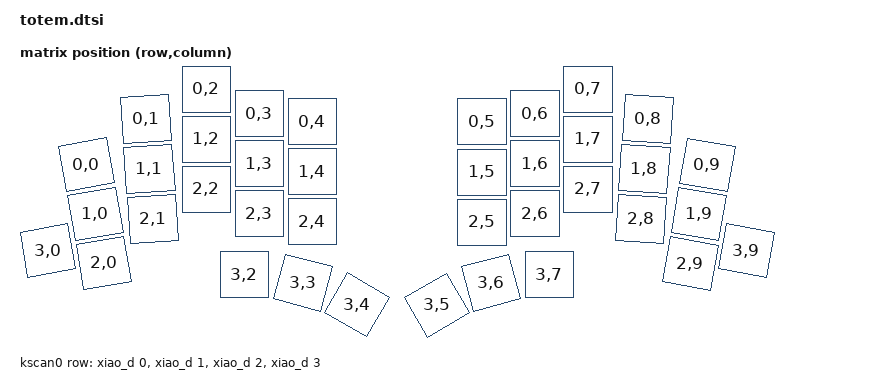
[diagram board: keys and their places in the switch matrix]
/*
* Copyright (c) 2022 The ZMK Contributors
*
* SPDX-License-Identifier: MIT
*/

#include <dt-bindings/zmk/matrix_transform.h>
#include <physical_layouts.dtsi>

/ {
    chosen {
        zmk,kscan = &kscan0;
        zmk,physical-layout = &default_layout;
    };

    default_transform: keymap_transform_0 {
        compatible = "zmk,matrix-transform";
        columns = <10>;
        rows = <4>;
//             | SW01  | SW02  | SW03  | SW04  | SW05  |  | SW05  | SW04  | SW03  | SW02  | SW01  |
//             | SW06  | SW07  | SW08  | SW09  | SW10  |  | SW10  | SW09  | SW08  | SW07  | SW06  | 
//      | SW16 | SW11  | SW12  | SW13  | SW14  | SW15  |  | SW15  | SW14  | SW13  | SW12  | SW11  | SW16  |
//                             | SW17  | SW18  | SW19  |  | SW19  | SW18  | SW17  | 
        map = <
                RC(0,0) RC(0,1) RC(0,2) RC(0,3) RC(0,4)    RC(0,5) RC(0,6) RC(0,7) RC(0,8) RC(0,9)
                RC(1,0) RC(1,1) RC(1,2) RC(1,3) RC(1,4)    RC(1,5) RC(1,6) RC(1,7) RC(1,8) RC(1,9)
        RC(3,0) RC(2,0) RC(2,1) RC(2,2) RC(2,3) RC(2,4)    RC(2,5) RC(2,6) RC(2,7) RC(2,8) RC(2,9) RC(3,9)
                                RC(3,2) RC(3,3) RC(3,4)    RC(3,5) RC(3,6) RC(3,7)         
        >;
    };
 
    default_layout: default_layout {
        compatible = "zmk,physical-layout";
        display-name = "TOTEM";
        transform = <&default_transform>;
        kscan = <&kscan0>;

        keys  //                     w   h    x    y     rot   rx   ry
            = <&key_physical_attrs 105 100   77  151 (-1000)  130  201>
            , <&key_physical_attrs 105 100  196   60  (-400)  249  110>
            , <&key_physical_attrs 105 100  317    0       0    0    0>
            , <&key_physical_attrs 105 100  423   49       0    0    0>
            , <&key_physical_attrs 105 100  529   65       0    0    0>
            , <&key_physical_attrs 105 100  868   65       0    0    0>
            , <&key_physical_attrs 105 100  974   49       0    0    0>
            , <&key_physical_attrs 105 100 1080    0       0    0    0>
            , <&key_physical_attrs 105 100 1200   60     400 1253  110>
            , <&key_physical_attrs 105 100 1319  152    1000 1372  202>
            , <&key_physical_attrs 105 100   95  250 (-1000)  147  300>
            , <&key_physical_attrs 105 100  203  160  (-400)  256  210>
            , <&key_physical_attrs 105 100  317  100       0    0    0>
            , <&key_physical_attrs 105 100  423  149       0    0    0>
            , <&key_physical_attrs 105 100  529  165       0    0    0>
            , <&key_physical_attrs 105 100  868  166       0    0    0>
            , <&key_physical_attrs 105 100  974  149       0    0    0>
            , <&key_physical_attrs 105 100 1080  100       0    0    0>
            , <&key_physical_attrs 105 100 1193  160     400 1246  210>
            , <&key_physical_attrs 105 100 1302  250    1000 1355  300>
            , <&key_physical_attrs 105 100    0  323 (-1000)   52  373>
            , <&key_physical_attrs 105 100  112  348 (-1000)  165  398>
            , <&key_physical_attrs 105 100  210  260  (-400)  263  310>
            , <&key_physical_attrs 105 100  317  200       0    0    0>
            , <&key_physical_attrs 105 100  423  249       0    0    0>
            , <&key_physical_attrs 105 100  529  265       0    0    0>
            , <&key_physical_attrs 105 100  868  266       0    0    0>
            , <&key_physical_attrs 105 100  974  249       0    0    0>
            , <&key_physical_attrs 105 100 1080  200       0    0    0>
            , <&key_physical_attrs 105 100 1186  260     400 1239  310>
            , <&key_physical_attrs 105 100 1285  349    1000 1338  399>
            , <&key_physical_attrs 105 100 1397  323    1000 1450  373>
            , <&key_physical_attrs 105 100  393  371       0    0    0>
            , <&key_physical_attrs 105 100  511  387    1500  563  437>
            , <&key_physical_attrs 105 100  619  432    3000  672  482>
            , <&key_physical_attrs 105 100  778  432 (-3000)  831  482>
            , <&key_physical_attrs 105 100  886  387 (-1500)  939  437>
            , <&key_physical_attrs 105 100 1003  371       0    0    0>
            ;
    };
 
    kscan0: kscan_0 {
        compatible = "zmk,kscan-gpio-matrix";
        label = "KSCAN";

        diode-direction = "col2row";
        wakeup-source;
        row-gpios
            = <&xiao_d 0 (GPIO_ACTIVE_HIGH | GPIO_PULL_DOWN)>
            , <&xiao_d 1 (GPIO_ACTIVE_HIGH | GPIO_PULL_DOWN)>
            , <&xiao_d 2 (GPIO_ACTIVE_HIGH | GPIO_PULL_DOWN)>
            , <&xiao_d 3 (GPIO_ACTIVE_HIGH | GPIO_PULL_DOWN)>
            ;
    };

    /* Lets a keypress on the matrix wake this half from soft-off (see the
     * sleep combo in totem.keymap). Left/right only in practice - the
     * dongle never enables CONFIG_ZMK_PM_SOFT_OFF, so this is inert there. */
    soft_off_wakers {
        compatible = "zmk,soft-off-wakeup-sources";
        wakeup-sources = <&kscan0>;
    };

    /*
     * Declared here (shared by all three shields) purely so the
     * &totem_sleep label in the shared keymap resolves on every build - same
     * reasoning as &battery_check above. Only actually does anything on
     * left/right: see CONFIG_TOTEM_SLEEP_WARN and src/totem_sleep.c.
     *
     * Node name (not the &totem_sleep label - that's unaffected) must stay
     * under 15 chars: this behavior is GLOBAL locality, so the combo's
     * press/release gets relayed central-to-peripheral over BLE using the
     * device name as a lookup key in a fixed char[16] buffer
     * (zmk_split_transport_central_command.data.invoke_behavior.behavior_dev,
     * see app/include/zmk/split/transport/types.h). A longer name gets
     * silently truncated in transit and never matches on the peripheral -
     * this is why stock &soft_off's own node is named the cryptic "z_so_off"
     * rather than something descriptive.
     */
    totem_sleep: tot_sleep {
        compatible = "zmk,behavior-totem-sleep";
        #binding-cells = <0>;
    };

    /*
     * Declared here (shared by all three shields) purely so the &battery_check
     * label in the shared keymap resolves on every build. It only actually
     * does anything on the dongle: that's the only build where
     * CONFIG_TOTEM_BATTERY_LED is on and src/battery_led.c (which implements
     * the driver behind this node, with locality = BEHAVIOR_LOCALITY_CENTRAL)
     * gets compiled at all.
     */
    battery_check: behavior_battery_check {
        compatible = "zmk,behavior-battery-check";
        #binding-cells = <0>;
    };
 };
